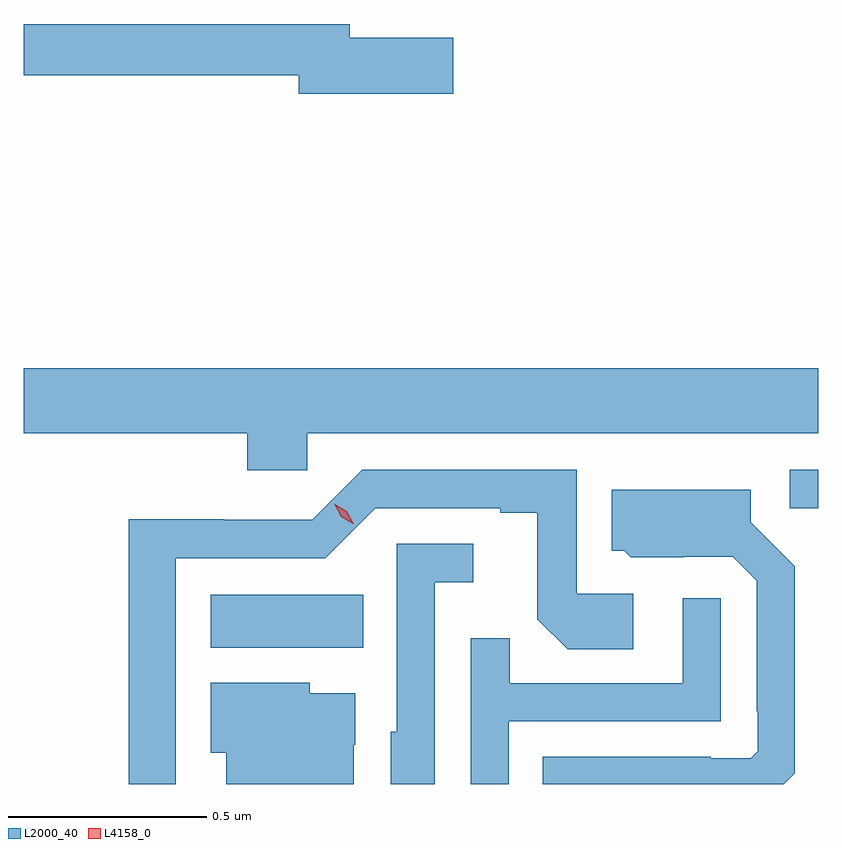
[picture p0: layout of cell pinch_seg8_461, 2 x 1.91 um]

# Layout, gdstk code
import gdstk
lib = gdstk.Library(unit=1e-6, precision=1e-09)
def R(c, l, rs):  # rectangles x0, y0, x1, y1
    for r in rs: c.add(gdstk.rectangle(r[:2], r[2:], *l))
def P(c, l, *ps):  # polygons
    for p in ps: c.add(gdstk.Polygon(p, *l))
L2000_40 = (2000, 40)
L4158_0 = (4158, 0)

pinch_seg8_461 = lib.new_cell('pinch_seg8_461')
R(pinch_seg8_461, L2000_40, [(220.178,1133.276,220.562,1133.41), (221.637,1133.628,221.708,1133.724)])
P(pinch_seg8_461, L2000_40, [(220.789,1134.813),(220.528,1134.813),(220.528,1134.847),(219.708,1134.847),(219.708,1134.718),(220.4,1134.718),(220.4,1134.671),(220.789,1134.671)],
  [(220.422,1133.816),(221.708,1133.816),(221.708,1133.98),(219.708,1133.98),(219.708,1133.816),(220.271,1133.816),(220.271,1133.723),(220.422,1133.723)],
  [(220.09,1133.502),(220.467,1133.502),(220.593,1133.628),(220.907,1133.628),(220.907,1133.616),(221.001,1133.616),(221.001,1133.348),(221.077,1133.272),(221.242,1133.272),(221.242,1133.412),(221.1,1133.412),(221.1,1133.724),(220.56,1133.724),(220.434,1133.598),(220.212,1133.598),(220.212,1133.6),(219.972,1133.6),(219.972,1132.933),(220.09,1132.933)],
  [(221.649,1132.96),(221.649,1133.482),(221.539,1133.592),(221.539,1133.674),(221.189,1133.674),(221.189,1133.52),(221.22,1133.52),(221.236,1133.504),(221.37,1133.504),(221.37,1133.505),(221.493,1133.505),(221.553,1133.445),(221.553,1133.116),(221.556,1133.116),(221.556,1133.016),(221.538,1132.998),(221.438,1132.998),(221.438,1133.001),(221.014,1133.001),(221.014,1132.933),(221.622,1132.933)],
  [(220.743,1133.441),(220.84,1133.441),(220.84,1133.538),(220.647,1133.538),(220.647,1133.064),(220.632,1133.064),(220.632,1132.933),(220.743,1132.933)],
  [(220.929,1133.091),(221.463,1133.091),(221.463,1133.401),(221.367,1133.401),(221.367,1133.187),(220.931,1133.187),(220.931,1133.3),(220.833,1133.3),(220.833,1132.933),(220.929,1132.933)],
  [(220.539,1133.032),(220.543,1133.032),(220.543,1133.161),(220.428,1133.161),(220.428,1133.188),(220.178,1133.188),(220.178,1133.012),(220.217,1133.012),(220.217,1132.933),(220.539,1132.933)])
P(pinch_seg8_461, L4158_0, [(220.539,1133.587),(220.507,1133.606),(220.49,1133.639),(220.49,1133.639),(220.49,1133.639),(220.521,1133.62),(220.539,1133.587),(220.539,1133.587)])

lib.write_gds('pinch_seg8_461.gds')
